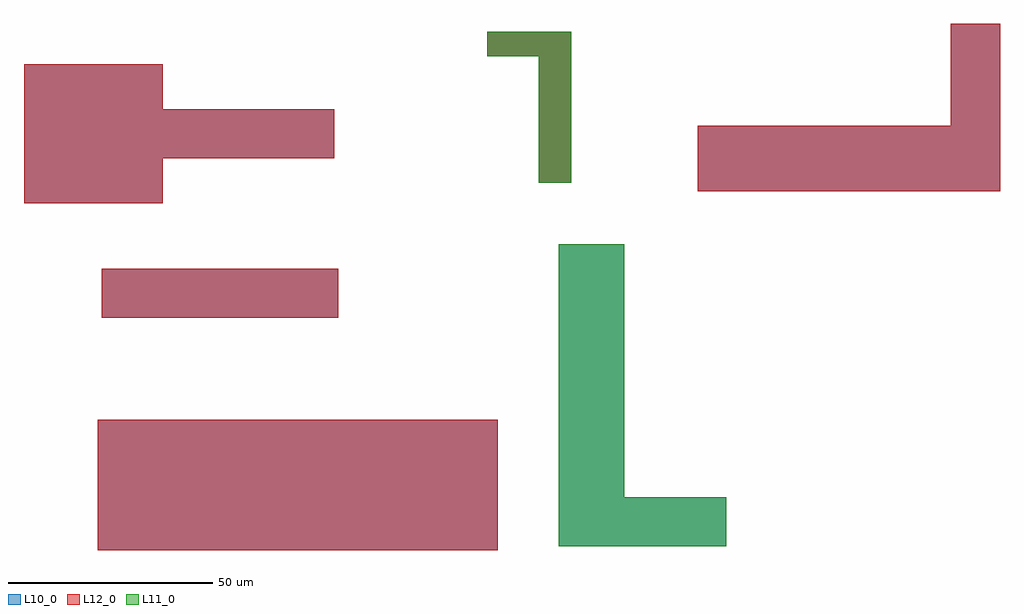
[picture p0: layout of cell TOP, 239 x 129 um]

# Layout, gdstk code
import gdstk
lib = gdstk.Library(unit=1e-6, precision=1e-09)
def R(c, l, rs):  # rectangles x0, y0, x1, y1
    for r in rs: c.add(gdstk.rectangle(r[:2], r[2:], *l))
def A(c, l, x, y, w, h, nx, ny, dx, dy):  # array of equal rectangles
    R(c, l, [(x+i*dx, y+j*dy, x+i*dx+w, y+j*dy+h) for i in range(nx) for j in range(ny)])
def P(c, l, *ps):  # polygons
    for p in ps: c.add(gdstk.Polygon(p, *l))
L10_0 = (10, 0)
L11_0 = (11, 0)
L12_0 = (12, 0)

top = lib.new_cell('TOP')
A(top, L10_0, 7, -100, 58, 12, 1, 5, 0, 5)
A(top, L10_0, 47, -100, 58, 12, 1, 5, 0, 5)
R(top, L10_0, [(120,-99,161,-87), (120,-99,136,-25), (8,-43,66,-31), (-11,-15,23,19), (154,-12,228,4), (216,-12,228,29), (115,-10,123,27), (7,-4,65,8), (102.5,21,123,27)])
P(top, L11_0, [(115,-10),(115,21),(102.5,21),(102.5,27),(123,27),(123,-10)],
  [(120,-99),(120,-25),(136,-25),(136,-87),(161,-87),(161,-99)])
R(top, L12_0, [(7,-100,105,-68), (8,-43,66,-31)])
P(top, L12_0, [(115,-10),(115,21),(102.5,21),(102.5,27),(123,27),(123,-10)],
  [(154,-12),(154,4),(216,4),(216,29),(228,29),(228,-12)],
  [(-11,-15),(-11,19),(23,19),(23,8),(65,8),(65,-4),(23,-4),(23,-15)])

lib.write_gds('TOP.gds')
